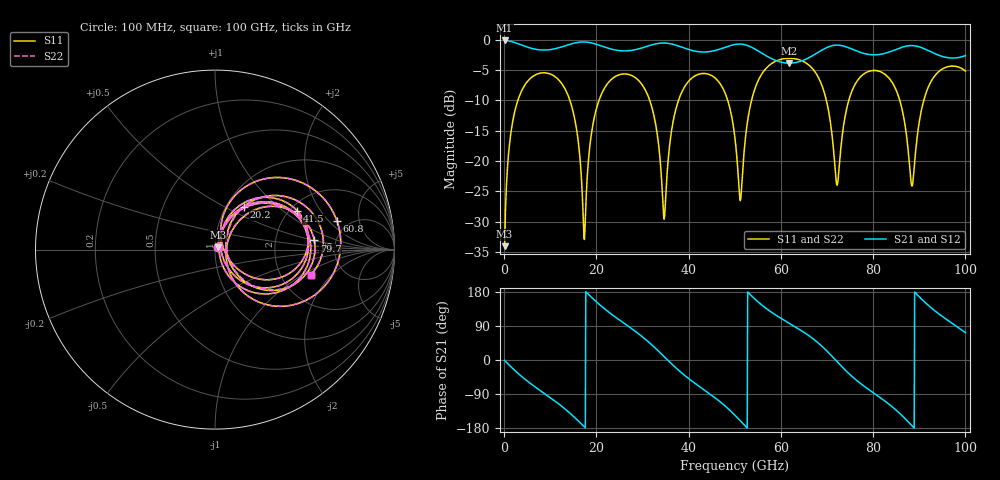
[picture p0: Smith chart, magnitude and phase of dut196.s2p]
! Touchstone file exported from HFSS 2026.1.0
!  File:  C:/ffzhzh/LocalFiles/Ansys_Project_Files/temp_train_TSV_RDL_196_1783656821_29156.aedt
!  Generated:  12:30:52 PM Jul 10, 2026
!  Design:  TSV_RDL
!  Project:  temp_train_TSV_RDL_196_1783656821_29156
! Variables:
!  h_bsmrdl = 4.29um
!  h_ox = 20um
!  h_rdl = 5um
!  h_sub = 57.28um
!  h_tmrdl = 4.05um
!  h_tsv = 57.28um
!  h_via = 3um
!  l_bsmrdl = 436.42um
!  l_sub = 3601.26um
!  l_tmrdl = 442.52um
!  m_sub = 200um
!  pitch = 45.6um
!  r_tsv = 6.11um
!  s_tmrdl = 10um
!  w_bsmrdl = 21.95um
!  w_sub = 500um
!  w_tmrdl = 18.69um
!  x_tsv_center1 = 451.865um
!  x_tsv_center2 = 910.235um
!  x_tsv_center3 = 1371.445um
!  x_tsv_center4 = 1829.815um
!  x_tsv_center5 = 2291.025um
!  x_tsv_center6 = 2749.395um
# GHz S MA R 50.000000
! Terminal data exported
! Port[1] = TM_RDL1_1_T1
! Port[2] = TM_RDL5_1_T1
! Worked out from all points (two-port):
!   1000 points, 100 MHz to 100 GHz, reference 50 ohm
!   highest |S21| = -0.13 dB at 100 MHz (marker M1); lowest = -3.9 dB at 61.8 GHz (marker M2)
!   |S21| within 3 dB of the highest: start of sweep to 57.98 GHz; 65.65 GHz to end of sweep
!   lowest |S11| = -34.0 dB at 100 MHz (marker M3), VSWR 1.04, Z = 51.6 + j1.29 ohm
!   |S11| at or under -10 dB: 14.25 GHz to 20.56 GHz (6.311 GHz wide, 36.3 % of centre); 31.56 GHz to 37.8 GHz (6.246 GHz wide, 18 % of centre); 48.47 GHz to 53.64 GHz (5.173 GHz wide, 10.1 % of centre) (the widest 3 of 6)
!   |S22| runs from -34.0 to -3.1 dB; largest |S21 - S12| = 7.8e-14
!   S11 on the Smith chart (normalised r, x): 100 MHz: 1.03, +0.03; 20.2 GHz: 1.20, +0.63; 41.5 GHz: 2.18, +1.27; 60.8 GHz: 4.00, +2.49; 79.7 GHz: 3.42, +0.51; 100 GHz: 2.92, -1.19
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0.1  0.01994 38.9  0.9847 -1.3  0.9847 -1.3  0.01994 38.9
! Gamma 0 0 0 0
! Port Impedance 50 0 50 0
2.1  0.2366 59.9  0.9515 -25.2  0.9515 -25.2  0.2366 59.9
6.9  0.5157 15.1  0.8323 -72.6  0.8323 -72.6  0.5157 15.1
13.8  0.3512 -44.3  0.9041 -135.4  0.9041 -135.4  0.3512 -44.3
16.8  0.06772 -61.7  0.9563 -169.3  0.9563 -169.3  0.06774 -61.6
20.2  0.2871 56.2  0.9109 151.4  0.9109 151.4  0.2871 56.1
28.1  0.4963 -11.2  0.8218 78.7  0.8218 78.7  0.4963 -11.3
33.4  0.1453 -54.3  0.9309 24.2  0.9309 24.2  0.1451 -54.8
34.7  0.03325 9.8  0.938 8.8  0.938 8.8  0.03192 9.8
41.5  0.5061 25.3  0.8026 -62.6  0.8026 -62.6  0.506 25.5
50.1  0.1478 -40.3  0.9129 -146.5  0.9129 -146.5  0.1477 -40.1
51.3  0.04905 32.6  0.9188 -161.6  0.9188 -161.6  0.04916 32.7
54.4  0.3972 63.4  0.8359 160.4  0.8359 160.4  0.3973 63.5
60.8  0.6982 13.2  0.6445 104.3  0.6445 104.3  0.6982 13.3
61.8  0.7027 6.6  0.6406 97.1  0.6406 97.1  0.7027 6.6
66.7  0.5857 -28.3  0.7319 58.6  0.7319 58.6  0.5857 -28.3
72.2  0.06324 -1.8  0.9018 -4.6  0.9018 -4.6  0.06183 -1.7
79.7  0.5555 5.3  0.7509 -83.5  0.7509 -83.5  0.5553 5.6
83.4  0.4839 -23.4  0.7892 -116.2  0.7892 -116.2  0.4839 -23.0
88.4  0.06227 3.7  0.8934 -173.1  0.8934 -173.1  0.06608 4.3
92.3  0.4336 44.0  0.8014 140.6  0.8014 140.6  0.4343 43.7
100  0.5508 -14.9  0.7388 72.3  0.7388 72.3  0.5512 -14.7
